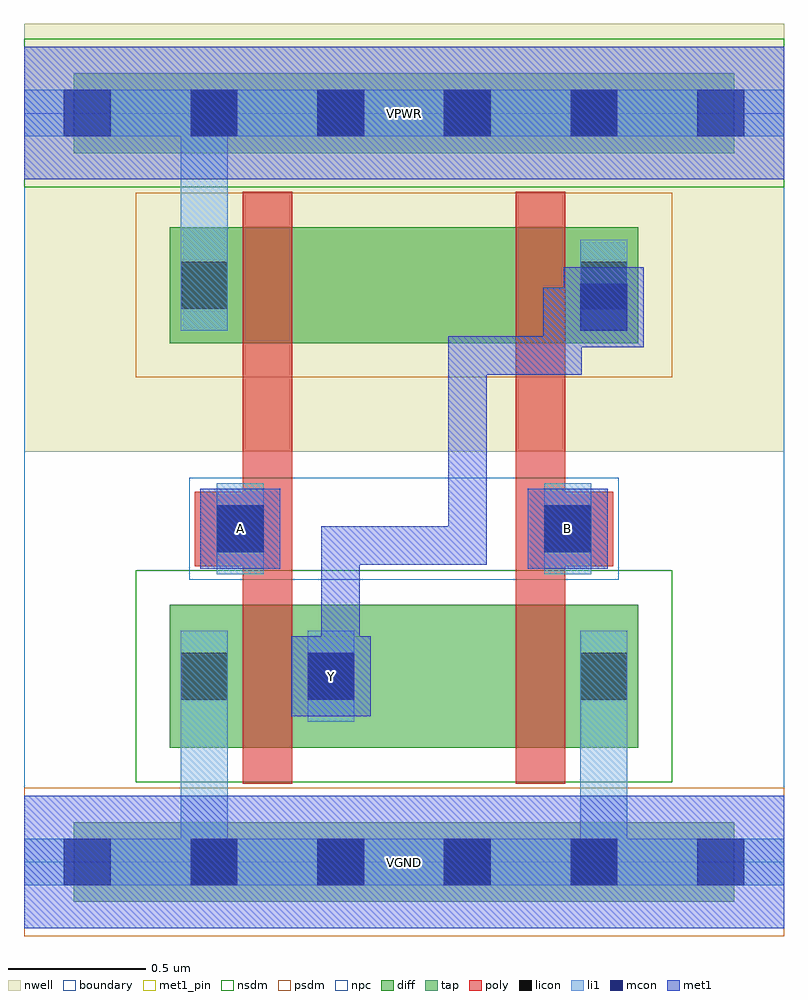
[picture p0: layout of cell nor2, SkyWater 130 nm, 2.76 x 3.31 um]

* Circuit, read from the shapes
.subckt nor2 A B VGND VPWR Y
XM1 Y A VGND VGND sky130_fd_pr__nfet_01v8 w=0.52 l=0.18
XM2 VGND B Y VGND sky130_fd_pr__nfet_01v8 w=0.52 l=0.18
XM3 n1 A VPWR VPWR sky130_fd_pr__pfet_01v8 w=0.42 l=0.18
XM4 Y B n1 VPWR sky130_fd_pr__pfet_01v8 w=0.42 l=0.18
.ends

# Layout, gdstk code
import gdstk
lib = gdstk.Library(unit=1e-6, precision=1e-09)
def R(c, l, rs):  # rectangles x0, y0, x1, y1
    for r in rs: c.add(gdstk.rectangle(r[:2], r[2:], *l))
def A(c, l, x, y, w, h, nx, ny, dx, dy):  # array of equal rectangles
    R(c, l, [(x+i*dx, y+j*dy, x+i*dx+w, y+j*dy+h) for i in range(nx) for j in range(ny)])
nwell = (64, 20)
diff = (65, 20)
tap = (65, 44)
poly = (66, 20)
licon = (66, 44)
li1 = (67, 20)
mcon = (67, 44)
met1_pin = (68, 16)
met1 = (68, 20)
nsdm = (93, 44)
psdm = (94, 20)
npc = (95, 20)
boundary = (235, 4)

nor2 = lib.new_cell('nor2')
R(nor2, nwell, [(0,1.49,2.76,3.045)])
R(nor2, diff, [(0.53,0.415,2.23,0.935), (0.53,1.885,2.23,2.305)])
R(nor2, tap, [(0.18,-0.145,2.58,0.145), (0.18,2.575,2.58,2.865)])
R(nor2, poly, [(0.795,0.285,0.975,2.435), (1.785,0.285,1.965,2.435), (0.62,1.075,0.95,1.345), (1.81,1.075,2.14,1.345)])
A(nor2, licon, 0.605, -0.085, 0.17, 0.17, 4, 2, 0.46, 2.72)
R(nor2, licon, [(0.57,0.59,0.74,0.76), (1.03,0.59,1.2,0.76), (2.02,0.59,2.19,0.76), (0.7,1.125,0.87,1.295), (1.89,1.125,2.06,1.295), (0.57,2.01,0.74,2.18), (2.02,2.01,2.19,2.18)])
R(nor2, li1, [(0,-0.085,2.76,0.085), (0.57,-0.085,0.74,0.84), (2.02,-0.085,2.19,0.84), (0.57,0.51,0.74,0.84), (1.03,0.51,1.2,0.84), (2.02,0.51,2.19,0.84), (0.7,1.045,0.87,1.375), (1.89,1.045,2.06,1.375), (0.57,1.93,0.74,2.26), (0.57,1.93,0.74,2.805), (2.02,1.93,2.19,2.26), (0,2.635,2.76,2.805)])
A(nor2, mcon, 0.145, -0.085, 0.17, 0.17, 6, 2, 0.46, 2.72)
R(nor2, mcon, [(1.03,0.59,1.2,0.76), (0.7,1.125,0.87,1.295), (1.89,1.125,2.06,1.295), (2.02,1.93,2.19,2.1)])
R(nor2, met1_pin, [(0,-0.24,2.76,0.24), (0.97,0.53,1.26,0.82), (0.64,1.065,0.93,1.355), (1.83,1.065,2.12,1.355), (0,2.48,2.76,2.96)])
R(nor2, met1, [(0,-0.24,2.76,0.24), (0.97,0.53,1.26,0.82), (1.08,0.62,1.22,0.76), (1.08,0.62,1.22,1.22), (0.64,1.065,0.93,1.355), (1.83,1.065,2.12,1.355), (1.08,1.08,1.68,1.22), (1.54,1.08,1.68,1.91), (1.54,1.77,2.025,1.91), (1.885,1.77,2.025,2.085), (1.96,1.87,2.25,2.16), (1.885,1.91,2.025,1.945), (1.885,1.91,2.025,1.945), (1.885,1.91,2.025,1.945), (1.885,1.91,2.025,1.945), (1.885,1.91,2.025,1.945), (1.885,1.91,2.025,1.945), (1.885,1.945,2.175,2.085), (0,2.48,2.76,2.96)])
R(nor2, nsdm, [(0.405,0.29,2.355,1.06), (0,2.45,2.76,2.99)])
R(nor2, psdm, [(0,-0.27,2.76,0.27), (0.405,1.76,2.355,2.43)])
R(nor2, npc, [(0.6,1.025,2.16,1.395)])
R(nor2, boundary, [(0,0,2.76,2.72)])
nor2.add(gdstk.Label('A', (0.785,1.21), layer=68, texttype=5))
nor2.add(gdstk.Label('B', (1.975,1.21), layer=68, texttype=5))
nor2.add(gdstk.Label('Y', (1.115,0.675), layer=68, texttype=5))
nor2.add(gdstk.Label('VPWR', (1.38,2.72), layer=68, texttype=5))
nor2.add(gdstk.Label('VGND', (1.38,0), layer=68, texttype=5))
nor2.add(gdstk.Label('A', (0.785,1.21), layer=68, texttype=16))
nor2.add(gdstk.Label('B', (1.975,1.21), layer=68, texttype=16))
nor2.add(gdstk.Label('Y', (1.115,0.675), layer=68, texttype=16))
nor2.add(gdstk.Label('VPWR', (1.38,2.72), layer=68, texttype=16))
nor2.add(gdstk.Label('VGND', (1.38,0), layer=68, texttype=16))

lib.write_gds('nor2.gds')
